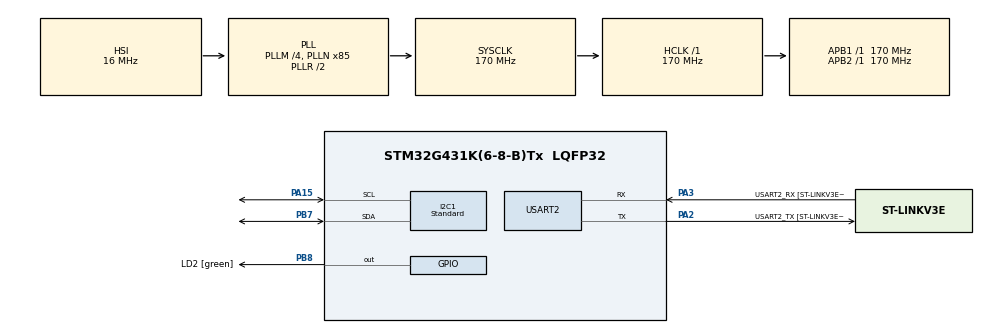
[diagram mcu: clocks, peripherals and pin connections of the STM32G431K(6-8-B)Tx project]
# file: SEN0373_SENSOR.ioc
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I2C1.CustomTiming=Disabled
I2C1.I2C_Speed_Mode=I2C_Standard
I2C1.Speed=100
I2C1.Timing=0x30A0A7FB
Mcu.Family=STM32G4
Mcu.Name=STM32G431K(6-8-B)Tx
Mcu.Package=LQFP32
NVIC.PriorityGroup=NVIC_PRIORITYGROUP_4
PA13.GPIO_Label=T_SWDIO
PA13.Mode=Serial_Wire
PA13.Signal=SYS_JTMS-SWDIO
PA14.GPIO_Label=T_SWCLK
PA14.Mode=Serial_Wire
PA14.Signal=SYS_JTCK-SWCLK
PA15.Mode=I2C
PA15.Signal=I2C1_SCL
PA2.GPIO_Label=USART2_TX [ST-LINKV3E_VCP_RX]
PA2.Mode=Asynchronous
PA2.Signal=USART2_TX
PA3.GPIO_Label=USART2_RX [ST-LINKV3E_VCP_TX]
PA3.Mode=Asynchronous
PA3.Signal=USART2_RX
PB3.GPIO_Label=T_SWO
PB3.Signal=SYS_JTDO-SWO
PB7.Mode=I2C
PB7.Signal=I2C1_SDA
PB8-BOOT0.GPIO_Label=LD2 [green]
PB8-BOOT0.Signal=GPIO_Output
ProjectManager.HeapSize=0x200
ProjectManager.StackSize=0x400
ProjectManager.TargetToolchain=STM32CubeIDE
RCC.ADC12Freq_Value=170000000
RCC.AHBFreq_Value=170000000
RCC.APB1Freq_Value=170000000
RCC.APB1TimFreq_Value=170000000
RCC.APB2Freq_Value=170000000
RCC.APB2TimFreq_Value=170000000
RCC.CortexFreq_Value=170000000
RCC.EXTERNAL_CLOCK_VALUE=12288000
RCC.HCLKFreq_Value=170000000
RCC.HSE_VALUE=8000000
RCC.HSI48_VALUE=48000000
RCC.HSI_VALUE=16000000
RCC.LSE_VALUE=32768
RCC.PLLM=RCC_PLLM_DIV4
RCC.PLLN=85
RCC.SYSCLKFreq_VALUE=170000000
RCC.SYSCLKSource=RCC_SYSCLKSOURCE_PLLCLK
RCC.USBFreq_Value=170000000
RCC.VCOOutputFreq_Value=340000000
USART2.VirtualMode-Asynchronous=VM_ASYNC
USART2.WordLength=WORDLENGTH_8B
board=NUCLEO-G431KB

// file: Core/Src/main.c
/* USER CODE BEGIN Header */
/**
  ******************************************************************************
  * @file           : main.c
  * @brief          : Main program body
  ******************************************************************************
  * @attention
  *
  * Copyright (c) 2023 STMicroelectronics.
  * All rights reserved.
  *
  * This software is licensed under terms that can be found in the LICENSE file
  * in the root directory of this software component.
  * If no LICENSE file comes with this software, it is provided AS-IS.
  *
  ******************************************************************************
  */
/* USER CODE END Header */
#include "main.h"

/* USER CODE BEGIN Includes */
#include <string.h>
#include <stdio.h>
#include <math.h>
#include <stdlib.h>
/* USER CODE END Includes */

/* USER CODE BEGIN PD */
#define BMX160_ADDR 0x68<<1 // PULL ADR HIGH
#define BMX160_ACCEL_X 0x12
#define BMX160_ACCEL_Y 0x14
#define BMX160_ACCEL_Z 0x16
#define BMX160_MAG_X 0x04
#define BMX160_MAG_Y 0x06
#define BMX160_MAG_Z 0x08
#define BMX160_GYRO_X 0x0c
#define BMX160_GYRO_Y 0x0e
#define BMX160_GYRO_Z 0x10
#define MAGN_IF_0 0x4C
#define MAGN_IF_1 0x4D
#define MAGN_IF_2 0x4E
#define MAGN_IF_3 0x4F
#define MAGN_CONFIG 0x44
/* USER CODE END PD */

I2C_HandleTypeDef hi2c1;

UART_HandleTypeDef huart2;

void SystemClock_Config(void);
static void MX_GPIO_Init(void);
static void MX_USART2_UART_Init(void);
static void MX_I2C1_Init(void);
/* USER CODE BEGIN PFP */
void UART_PRINT_VAL(double value);
void UART_PRINT_TEXT(uint8_t* MSG);

void BMX160_INIT(void);
double BMX160_GET_DATA(uint8_t addr, uint16_t dataSize);
/* USER CODE END PFP */

int main(void)
{

  /* MCU Configuration--------------------------------------------------------*/

  /* Reset of all peripherals, Initializes the Flash interface and the Systick. */
  HAL_Init();

  /* Configure the system clock */
  SystemClock_Config();

  /* Initialize all configured peripherals */
  MX_GPIO_Init();
  MX_USART2_UART_Init();
  MX_I2C1_Init();
  /* USER CODE BEGIN 2 */
    double xAccel = 0;
    double yAccel = 0;
    double zAccel = 0;
    double xMag = 0;
    double yMag = 0;
    double zMag = 0;
    double xGyro = 0;
    double yGyro = 0;
    double zGyro = 0;

    HAL_Delay(500);
    BMX160_INIT();
    HAL_Delay(500);
    BMX160_INIT();
  /* USER CODE END 2 */

  /* Infinite loop */
  /* USER CODE BEGIN WHILE */
  while (1)
  {

	  /*uint8_t receiveData;
	  HAL_I2C_Mem_Read(&hi2c1, BMX160_ADDR, 0x02, 1, &receiveData, 1, 100);
	  UART_PRINT_VAL(receiveData);*/

	  xAccel = BMX160_GET_DATA(BMX160_ACCEL_X, 2);
	  HAL_Delay(1);
	  /*
	  yAccel = BMX160_GET_DATA(BMX160_ACCEL_Y, 2);
	  HAL_Delay(1);
	  zAccel = BMX160_GET_DATA(BMX160_ACCEL_Z, 2);
	  HAL_Delay(3);

	  xMag = BMX160_GET_DATA(BMX160_MAG_X, 2);
	  HAL_Delay(1);

	  /*uint8_t receivedData;
	  HAL_I2C_Mem_Read(&hi2c1, BMX160_ADDR, 0x1B, 1, &receivedData, 1, 100);
	  UART_PRINT_VAL(receivedData);*/
/*
	  yMag = BMX160_GET_DATA(BMX160_MAG_Y, 2);
	  HAL_Delay(1);
	  zMag = BMX160_GET_DATA(BMX160_MAG_Z, 2);
	  HAL_Delay(3);

	  xGyro = BMX160_GET_DATA(BMX160_GYRO_X, 2);
	  HAL_Delay(1);
	  yGyro = BMX160_GET_DATA(BMX160_GYRO_Y, 2);
	  HAL_Delay(1);
	  zGyro = BMX160_GET_DATA(BMX160_GYRO_Z, 2);
	  HAL_Delay(3);
	  */

      UART_PRINT_TEXT("Accelerometer: ");
	  UART_PRINT_TEXT("( ");
	  UART_PRINT_VAL(xAccel);
	  /*
	  UART_PRINT_TEXT(", ");
	  UART_PRINT_VAL(yAccel);
	  UART_PRINT_TEXT(", ");
	  UART_PRINT_VAL(zAccel);
	  */
	  UART_PRINT_TEXT(" )\n");
/*
	  UART_PRINT_TEXT("Magnetometer: ");
	  UART_PRINT_TEXT("( ");
	  UART_PRINT_VAL(xMag);
	  UART_PRINT_TEXT(", ");
	  UART_PRINT_VAL(yMag);
	  UART_PRINT_TEXT(", ");
	  UART_PRINT_VAL(zMag);
	  UART_PRINT_TEXT(" )\n");

	  UART_PRINT_TEXT("Gyro: ");
	  UART_PRINT_TEXT("( ");
	  UART_PRINT_VAL(xGyro);
	  UART_PRINT_TEXT(", ");
	  UART_PRINT_VAL(yGyro);
	  UART_PRINT_TEXT(", ");
	  UART_PRINT_VAL(zGyro);
	  UART_PRINT_TEXT(" )\n");
*/
	  HAL_Delay(100);
    /* USER CODE END WHILE */

  }
}

void SystemClock_Config(void)
{
  RCC_OscInitTypeDef RCC_OscInitStruct = {0};
  RCC_ClkInitTypeDef RCC_ClkInitStruct = {0};

  /** Configure the main internal regulator output voltage
  */
  HAL_PWREx_ControlVoltageScaling(PWR_REGULATOR_VOLTAGE_SCALE1_BOOST);

  /** Initializes the RCC Oscillators according to the specified parameters
  * in the RCC_OscInitTypeDef structure.
  */
  RCC_OscInitStruct.OscillatorType = RCC_OSCILLATORTYPE_HSI;
  RCC_OscInitStruct.HSIState = RCC_HSI_ON;
  RCC_OscInitStruct.HSICalibrationValue = RCC_HSICALIBRATION_DEFAULT;
  RCC_OscInitStruct.PLL.PLLState = RCC_PLL_ON;
  RCC_OscInitStruct.PLL.PLLSource = RCC_PLLSOURCE_HSI;
  RCC_OscInitStruct.PLL.PLLM = RCC_PLLM_DIV4;
  RCC_OscInitStruct.PLL.PLLN = 85;
  RCC_OscInitStruct.PLL.PLLP = RCC_PLLP_DIV2;
  RCC_OscInitStruct.PLL.PLLQ = RCC_PLLQ_DIV2;
  RCC_OscInitStruct.PLL.PLLR = RCC_PLLR_DIV2;
  if (HAL_RCC_OscConfig(&RCC_OscInitStruct) != HAL_OK)
  {
    Error_Handler();
  }

  /** Initializes the CPU, AHB and APB buses clocks
  */
  RCC_ClkInitStruct.ClockType = RCC_CLOCKTYPE_HCLK|RCC_CLOCKTYPE_SYSCLK
                              |RCC_CLOCKTYPE_PCLK1|RCC_CLOCKTYPE_PCLK2;
  RCC_ClkInitStruct.SYSCLKSource = RCC_SYSCLKSOURCE_PLLCLK;
  RCC_ClkInitStruct.AHBCLKDivider = RCC_SYSCLK_DIV1;
  RCC_ClkInitStruct.APB1CLKDivider = RCC_HCLK_DIV1;
  RCC_ClkInitStruct.APB2CLKDivider = RCC_HCLK_DIV1;

  if (HAL_RCC_ClockConfig(&RCC_ClkInitStruct, FLASH_LATENCY_4) != HAL_OK)
  {
    Error_Handler();
  }
}

static void MX_I2C1_Init(void)
{

  hi2c1.Instance = I2C1;
  hi2c1.Init.Timing = 0x30A0A7FB;
  hi2c1.Init.OwnAddress1 = 0;
  hi2c1.Init.AddressingMode = I2C_ADDRESSINGMODE_7BIT;
  hi2c1.Init.DualAddressMode = I2C_DUALADDRESS_DISABLE;
  hi2c1.Init.OwnAddress2 = 0;
  hi2c1.Init.OwnAddress2Masks = I2C_OA2_NOMASK;
  hi2c1.Init.GeneralCallMode = I2C_GENERALCALL_DISABLE;
  hi2c1.Init.NoStretchMode = I2C_NOSTRETCH_DISABLE;
  if (HAL_I2C_Init(&hi2c1) != HAL_OK)
  {
    Error_Handler();
  }

  /** Configure Analogue filter
  */
  if (HAL_I2CEx_ConfigAnalogFilter(&hi2c1, I2C_ANALOGFILTER_ENABLE) != HAL_OK)
  {
    Error_Handler();
  }

  /** Configure Digital filter
  */
  if (HAL_I2CEx_ConfigDigitalFilter(&hi2c1, 0) != HAL_OK)
  {
    Error_Handler();
  }

}

static void MX_USART2_UART_Init(void)
{

  huart2.Instance = USART2;
  huart2.Init.BaudRate = 115200;
  huart2.Init.WordLength = UART_WORDLENGTH_8B;
  huart2.Init.StopBits = UART_STOPBITS_1;
  huart2.Init.Parity = UART_PARITY_NONE;
  huart2.Init.Mode = UART_MODE_TX_RX;
  huart2.Init.HwFlowCtl = UART_HWCONTROL_NONE;
  huart2.Init.OverSampling = UART_OVERSAMPLING_16;
  huart2.Init.OneBitSampling = UART_ONE_BIT_SAMPLE_DISABLE;
  huart2.Init.ClockPrescaler = UART_PRESCALER_DIV1;
  huart2.AdvancedInit.AdvFeatureInit = UART_ADVFEATURE_NO_INIT;
  if (HAL_UART_Init(&huart2) != HAL_OK)
  {
    Error_Handler();
  }
  if (HAL_UARTEx_SetTxFifoThreshold(&huart2, UART_TXFIFO_THRESHOLD_1_8) != HAL_OK)
  {
    Error_Handler();
  }
  if (HAL_UARTEx_SetRxFifoThreshold(&huart2, UART_RXFIFO_THRESHOLD_1_8) != HAL_OK)
  {
    Error_Handler();
  }
  if (HAL_UARTEx_DisableFifoMode(&huart2) != HAL_OK)
  {
    Error_Handler();
  }

}

static void MX_GPIO_Init(void)
{
  GPIO_InitTypeDef GPIO_InitStruct = {0};

  /* GPIO Ports Clock Enable */
  __HAL_RCC_GPIOA_CLK_ENABLE();
  __HAL_RCC_GPIOB_CLK_ENABLE();

  /*Configure GPIO pin Output Level */
  HAL_GPIO_WritePin(LD2_GPIO_Port, LD2_Pin, GPIO_PIN_RESET);

  /*Configure GPIO pin : LD2_Pin */
  GPIO_InitStruct.Pin = LD2_Pin;
  GPIO_InitStruct.Mode = GPIO_MODE_OUTPUT_PP;
  GPIO_InitStruct.Pull = GPIO_NOPULL;
  GPIO_InitStruct.Speed = GPIO_SPEED_FREQ_LOW;
  HAL_GPIO_Init(LD2_GPIO_Port, &GPIO_InitStruct);

}

/* USER CODE BEGIN 4 */
void UART_PRINT_VAL(double value){
	char total[50];
	char temp[10];
	if(value < 0){
	   UART_PRINT_TEXT("-");
	}
	sprintf(total, "%i", abs((int)value));
	strcat(total, ".");
	double currentVal = (value - (int) value);
	for(int a=0;a<6;a++){
		currentVal *= 10;
		sprintf(temp, "%i", abs((int)currentVal));
		strcat(total, temp);
		currentVal -= (int)currentVal;
	}
	HAL_UART_Transmit(&huart2, total, strlen(total), 100);
}

void UART_PRINT_TEXT(uint8_t* MSG){
	HAL_UART_Transmit(&huart2, MSG, strlen(MSG), 100);
}

void BMX160_INIT(void){
	uint8_t softreset[1] = {0xB6};
	HAL_I2C_Mem_Write(&hi2c1, BMX160_ADDR, 0x7e, 1, softreset, 1, HAL_MAX_DELAY); //soft reset
	uint8_t gyrorange[1] = {0x04};
	HAL_I2C_Mem_Write(&hi2c1, BMX160_ADDR, 0x43, 1, gyrorange, 1, 100); //set GYR_RANGE to be full precision (+/- 125 deg/s)
	uint8_t stepconfig1[1] = {0x15};
	HAL_I2C_Mem_Write(&hi2c1, BMX160_ADDR, 0x7a, 1, stepconfig1, 1, 100); //set step config to normal mode
	uint8_t stepconfig2[1] = {0x03};
	HAL_I2C_Mem_Write(&hi2c1, BMX160_ADDR, 0x7b, 1, stepconfig2, 1, 100); //set step config to normal mode
	uint8_t accelpmu[1] = {0x11};
	HAL_I2C_Mem_Write(&hi2c1, BMX160_ADDR, 0x7e, 1, accelpmu, 1, 100); //set accelerometer pmu mode to normal
	HAL_Delay(50);
	uint8_t gyropmu[1] = {0x15};
	HAL_I2C_Mem_Write(&hi2c1, BMX160_ADDR, 0x7e, 1, gyropmu, 1, 100); //set gyro pmu mode to normal
	HAL_Delay(100);

	uint8_t magpmu[1] = {0x19};
	HAL_I2C_Mem_Write(&hi2c1, BMX160_ADDR, 0x7e, 1, magpmu, 1, 100); //set magnetometer pmu mode to normal
	HAL_Delay(10);

	uint8_t magbuffer[12] = {0x80 /*first setting*/,0x01,0x4B /*sleep mode*/,0x04, 0x51 /*preset xy*/, 0x0E,0x52, /*preset z*/0x02,0x4C,0x42,0x08 /*config*/,0x03};//0x4C,0x42,0x08,0x03};
	HAL_I2C_Mem_Write(&hi2c1, BMX160_ADDR, MAGN_IF_0, 1, &magbuffer[0], 1, 100);
	HAL_Delay(50);

	HAL_I2C_Mem_Write(&hi2c1, BMX160_ADDR, MAGN_IF_3, 1, &magbuffer[1], 1, 100);
	HAL_I2C_Mem_Write(&hi2c1, BMX160_ADDR, MAGN_IF_2, 1, &magbuffer[2], 1, 100);

	HAL_I2C_Mem_Write(&hi2c1, BMX160_ADDR, MAGN_IF_3, 1, &magbuffer[3], 1, 100);
	HAL_I2C_Mem_Write(&hi2c1, BMX160_ADDR, MAGN_IF_2, 1, &magbuffer[4], 1, 100);

	HAL_I2C_Mem_Write(&hi2c1, BMX160_ADDR, MAGN_IF_3, 1, &magbuffer[5], 1, 100);
	HAL_I2C_Mem_Write(&hi2c1, BMX160_ADDR, MAGN_IF_2, 1, &magbuffer[6], 1, 100);

	HAL_I2C_Mem_Write(&hi2c1,BMX160_ADDR, MAGN_IF_3, 1, &magbuffer[7], 1, 100);
	HAL_I2C_Mem_Write(&hi2c1, BMX160_ADDR, MAGN_IF_2, 1, &magbuffer[8], 1, 100);
	HAL_I2C_Mem_Write(&hi2c1, BMX160_ADDR, MAGN_IF_1, 1, &magbuffer[9], 1, 100);
	HAL_I2C_Mem_Write(&hi2c1, BMX160_ADDR, MAGN_CONFIG, 1, &magbuffer[10], 1, 100);
	HAL_I2C_Mem_Write(&hi2c1, BMX160_ADDR, MAGN_IF_0, 1, &magbuffer[11], 1, 100);
	HAL_Delay(50);

/*
	uint8_t accelconfig[1] = {0x2B};
	HAL_I2C_Mem_Write(&hi2c1, BMX160_ADDR, 0x40, 1, accelconfig, 1, HAL_MAX_DELAY); // set accel_config to us = 0b0, pw = 0b010, and odr = 0b1011/800 Hz
	uint8_t accelrange[1] = {0x3};
	HAL_I2C_Mem_Write(&hi2c1, BMX160_ADDR, 0x41, 1, accelrange, 1, HAL_MAX_DELAY); // set accel_range to +/- 2g*/

}

double BMX160_GET_DATA(uint8_t addr, uint16_t dataSize){
	double val = 0;
	uint16_t value = 0;
	uint8_t receiveData[dataSize];
	HAL_I2C_Mem_Read(&hi2c1, BMX160_ADDR, addr, 1, receiveData, dataSize, 100);
	value = (receiveData[1] << 8 | receiveData[0]);
	if(value > 0x7fff){
		value = ~value;
		val = -value;
	}
	else{
		val = value;
	}

	val *= 0.000061035; // (1/(2^15)) to get g

	return val;
}
/* USER CODE END 4 */

void Error_Handler(void)
{
  __disable_irq();
  while (1)
  {
  }
}
